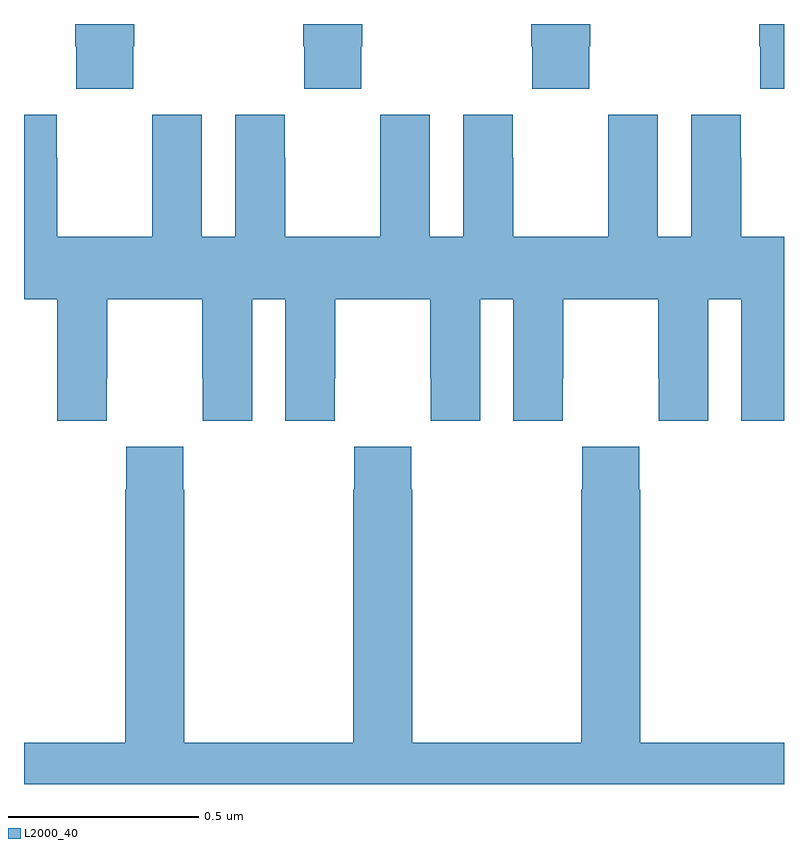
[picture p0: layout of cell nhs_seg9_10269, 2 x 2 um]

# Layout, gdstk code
import gdstk
lib = gdstk.Library(unit=1e-6, precision=1e-09)
def P(c, l, *ps):  # polygons
    for p in ps: c.add(gdstk.Polygon(p, *l))
L2000_40 = (2000, 40)

nhs_seg9_10269 = lib.new_cell('nhs_seg9_10269')
P(nhs_seg9_10269, L2000_40, [(241.287,1174.441),(241.29,1174.441),(241.29,1174.5),(241.135,1174.5),(241.135,1174.441),(241.137,1174.441),(241.137,1174.329),(241.287,1174.329)],
  [(241.887,1174.441),(241.89,1174.441),(241.89,1174.5),(241.735,1174.5),(241.735,1174.441),(241.737,1174.441),(241.737,1174.329),(241.887,1174.329)],
  [(242.487,1174.441),(242.49,1174.441),(242.49,1174.5),(242.335,1174.5),(242.335,1174.441),(242.337,1174.441),(242.337,1174.329),(242.487,1174.329)],
  [(243,1174.5),(242.935,1174.5),(242.935,1174.441),(242.937,1174.441),(242.937,1174.329),(243,1174.329)],
  [(242.069,1173.568),(242.07,1173.568),(242.07,1173.456),(242.2,1173.456),(242.2,1173.776),(242.288,1173.776),(242.288,1173.456),(242.418,1173.456),(242.418,1173.568),(242.419,1173.568),(242.419,1173.776),(242.669,1173.776),(242.669,1173.568),(242.67,1173.568),(242.67,1173.456),(242.8,1173.456),(242.8,1173.776),(242.888,1173.776),(242.888,1173.456),(243,1173.456),(243,1173.94),(242.887,1173.94),(242.887,1174.148),(242.886,1174.148),(242.886,1174.261),(242.756,1174.261),(242.756,1173.94),(242.668,1173.94),(242.668,1174.261),(242.538,1174.261),(242.538,1174.148),(242.537,1174.148),(242.537,1173.94),(242.287,1173.94),(242.287,1174.148),(242.286,1174.148),(242.286,1174.261),(242.156,1174.261),(242.156,1173.94),(242.068,1173.94),(242.068,1174.261),(241.938,1174.261),(241.938,1174.148),(241.937,1174.148),(241.937,1173.94),(241.687,1173.94),(241.687,1174.148),(241.686,1174.148),(241.686,1174.261),(241.556,1174.261),(241.556,1173.94),(241.468,1173.94),(241.468,1174.261),(241.338,1174.261),(241.338,1174.148),(241.337,1174.148),(241.337,1173.94),(241.087,1173.94),(241.087,1174.148),(241.086,1174.148),(241.086,1174.261),(241,1174.261),(241,1173.776),(241.088,1173.776),(241.088,1173.456),(241.218,1173.456),(241.218,1173.568),(241.219,1173.568),(241.219,1173.776),(241.469,1173.776),(241.469,1173.568),(241.47,1173.568),(241.47,1173.456),(241.6,1173.456),(241.6,1173.776),(241.688,1173.776),(241.688,1173.456),(241.818,1173.456),(241.818,1173.568),(241.819,1173.568),(241.819,1173.776),(242.069,1173.776)],
  [(241.419,1173.275),(241.419,1173.388),(241.269,1173.388),(241.269,1173.275),(241.267,1173.275),(241.267,1172.608),(241,1172.608),(241,1172.5),(243,1172.5),(243,1172.608),(242.622,1172.608),(242.622,1173.275),(242.619,1173.275),(242.619,1173.388),(242.469,1173.388),(242.469,1173.275),(242.467,1173.275),(242.467,1172.608),(242.022,1172.608),(242.022,1173.275),(242.019,1173.275),(242.019,1173.388),(241.869,1173.388),(241.869,1173.275),(241.867,1173.275),(241.867,1172.608),(241.422,1172.608),(241.422,1173.275)])

lib.write_gds('nhs_seg9_10269.gds')
